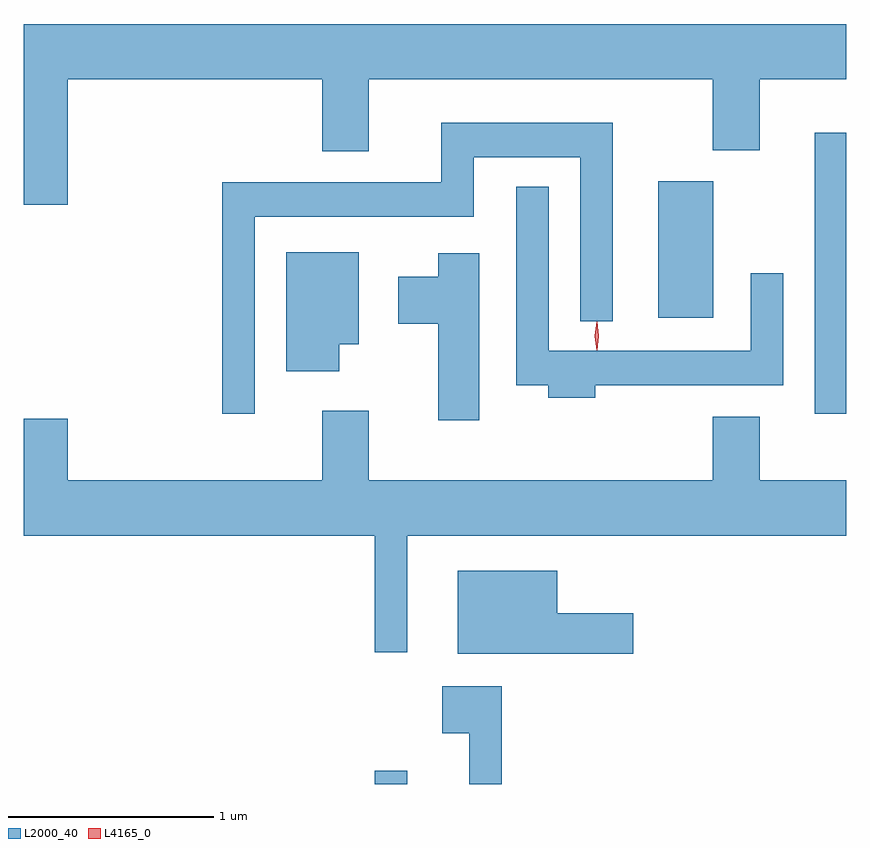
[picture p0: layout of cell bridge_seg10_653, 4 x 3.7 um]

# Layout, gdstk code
import gdstk
lib = gdstk.Library(unit=1e-6, precision=1e-09)
def R(c, l, rs):  # rectangles x0, y0, x1, y1
    for r in rs: c.add(gdstk.rectangle(r[:2], r[2:], *l))
def P(c, l, *ps):  # polygons
    for p in ps: c.add(gdstk.Polygon(p, *l))
L2000_40 = (2000, 40)
L4165_0 = (4165, 0)

bridge_seg10_653 = lib.new_cell('bridge_seg10_653')
R(bridge_seg10_653, L2000_40, [(1016.036,2114.928,1016.194,2114.993), (1018.176,2116.728,1018.33,2118.094), (1017.416,2117.196,1017.684,2117.859)])
P(bridge_seg10_653, L2000_40, [(1014.544,2118.356),(1015.781,2118.356),(1015.781,2118.006),(1016.009,2118.006),(1016.009,2118.356),(1017.681,2118.356),(1017.681,2118.011),(1017.909,2118.011),(1017.909,2118.356),(1018.33,2118.356),(1018.33,2118.624),(1014.33,2118.624),(1014.33,2117.746),(1014.544,2117.746)],
  [(1015.454,2117.686),(1016.519,2117.686),(1016.519,2117.976),(1017.036,2117.976),(1017.036,2117.178),(1017.194,2117.178),(1017.194,2118.144),(1016.361,2118.144),(1016.361,2117.854),(1015.296,2117.854),(1015.296,2116.728),(1015.454,2116.728)],
  [(1017.109,2116.866),(1018.024,2116.866),(1018.024,2117.413),(1017.866,2117.413),(1017.866,2117.034),(1016.884,2117.034),(1016.884,2117.833),(1016.726,2117.833),(1016.726,2116.866),(1016.881,2116.866),(1016.881,2116.806),(1017.109,2116.806)],
  [(1015.864,2117.066),(1015.959,2117.066),(1015.959,2117.514),(1015.606,2117.514),(1015.606,2116.936),(1015.864,2116.936)],
  [(1016.544,2117.509),(1016.346,2117.509),(1016.346,2117.394),(1016.151,2117.394),(1016.151,2117.166),(1016.346,2117.166),(1016.346,2116.696),(1016.544,2116.696)],
  [(1016.194,2116.136),(1018.33,2116.136),(1018.33,2116.404),(1017.909,2116.404),(1017.909,2116.714),(1017.681,2116.714),(1017.681,2116.404),(1016.009,2116.404),(1016.009,2116.744),(1015.781,2116.744),(1015.781,2116.404),(1014.544,2116.404),(1014.544,2116.704),(1014.33,2116.704),(1014.33,2116.136),(1016.036,2116.136),(1016.036,2115.568),(1016.194,2115.568)],
  [(1017.294,2115.759),(1016.924,2115.759),(1016.924,2115.964),(1016.441,2115.964),(1016.441,2115.561),(1017.294,2115.561)],
  [(1016.654,2115.404),(1016.366,2115.404),(1016.366,2115.176),(1016.496,2115.176),(1016.496,2114.928),(1016.654,2114.928)])
P(bridge_seg10_653, L4165_0, [(1017.117,2117.039),(1017.117,2117.04),(1017.107,2117.106),(1017.116,2117.172),(1017.117,2117.173),(1017.118,2117.172),(1017.127,2117.106),(1017.118,2117.04)],
  [(1017.117,2117.037),(1017.117,2117.037),(1017.107,2117.107),(1017.117,2117.176),(1017.117,2117.176),(1017.118,2117.176),(1017.127,2117.107),(1017.118,2117.037)])

lib.write_gds('bridge_seg10_653.gds')
